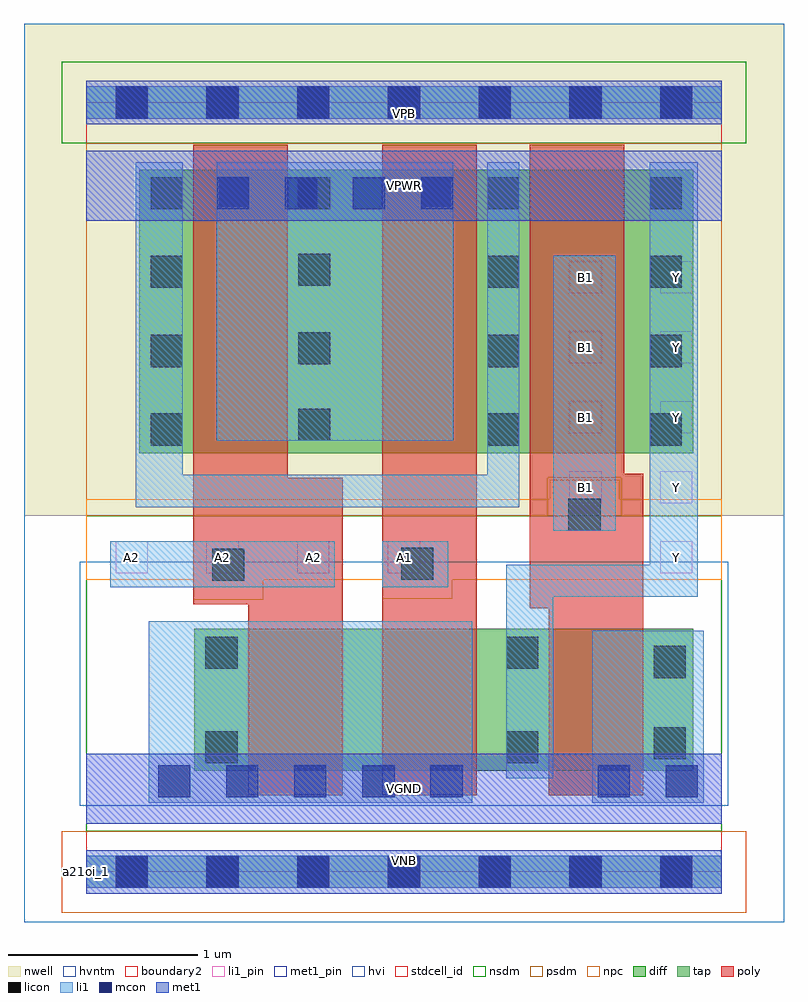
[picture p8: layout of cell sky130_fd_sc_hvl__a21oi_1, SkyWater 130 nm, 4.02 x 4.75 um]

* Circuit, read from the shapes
.subckt sky130_fd_sc_hvl__a21oi_1 A1 A2 B1 VGND VNB VPB VPWR Y
XM1 n1 A2 VGND VNB sky130_fd_pr__nfet_g5v0d10v5 w=0.75 l=0.5
XM2 Y A1 n1 VNB sky130_fd_pr__nfet_g5v0d10v5 w=0.75 l=0.5
XM3 VGND B1 Y VNB sky130_fd_pr__nfet_g5v0d10v5 w=0.75 l=0.5
XM4 VPWR A2 n2 VPB sky130_fd_pr__pfet_g5v0d10v5 w=1.5 l=0.5
XM5 n2 A1 VPWR VPB sky130_fd_pr__pfet_g5v0d10v5 w=1.5 l=0.5
XM6 Y B1 n2 VPB sky130_fd_pr__pfet_g5v0d10v5 w=1.5 l=0.5
.ends

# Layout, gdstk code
import gdstk
lib = gdstk.Library(unit=1e-6, precision=1e-09)
def R(c, l, rs):  # rectangles x0, y0, x1, y1
    for r in rs: c.add(gdstk.rectangle(r[:2], r[2:], *l))
def A(c, l, x, y, w, h, nx, ny, dx, dy):  # array of equal rectangles
    R(c, l, [(x+i*dx, y+j*dy, x+i*dx+w, y+j*dy+h) for i in range(nx) for j in range(ny)])
def P(c, l, *ps):  # polygons
    for p in ps: c.add(gdstk.Polygon(p, *l))
nwell = (64, 20)
diff = (65, 20)
tap = (65, 44)
poly = (66, 20)
licon = (66, 44)
li1_pin = (67, 16)
li1 = (67, 20)
mcon = (67, 44)
met1_pin = (68, 16)
met1 = (68, 20)
hvi = (75, 20)
stdcell_id = (81, 4)
nsdm = (93, 44)
psdm = (94, 20)
npc = (95, 20)
hvntm = (125, 20)
boundary2 = (236, 0)

sky130_fd_sc_hvl__a21oi_ = lib.new_cell('sky130_fd_sc_hvl__a21oi_1')
R(sky130_fd_sc_hvl__a21oi_, nwell, [(-0.33,1.885,3.69,4.485)])
R(sky130_fd_sc_hvl__a21oi_, diff, [(0.57,0.535,3.21,1.285), (0.28,2.215,3.21,3.715)])
R(sky130_fd_sc_hvl__a21oi_, tap, [(0,-0.085,3.36,0.085), (0,3.985,3.36,4.155)])
R(sky130_fd_sc_hvl__a21oi_, poly, [(1.565,0.405,2.065,3.845)])
P(sky130_fd_sc_hvl__a21oi_, poly, [(0.855,0.405),(0.855,1.415),(0.565,1.415),(0.565,3.845),(1.065,3.845),(1.065,2.085),(1.355,2.085),(1.355,0.405)],
  [(2.445,0.405),(2.445,1.395),(2.345,1.395),(2.345,3.845),(2.845,3.845),(2.845,2.105),(2.945,2.105),(2.945,0.405)])
A(sky130_fd_sc_hvl__a21oi_, licon, 0.155, -0.085, 0.17, 0.17, 7, 2, 0.48, 4.07)
R(sky130_fd_sc_hvl__a21oi_, licon, [(0.63,0.575,0.8,0.745), (2.22,0.575,2.39,0.745), (3,0.595,3.17,0.765), (3,1.025,3.17,1.195), (0.63,1.075,0.8,1.245), (2.22,1.075,2.39,1.245), (0.665,1.54,0.835,1.71), (1.665,1.545,1.835,1.715), (2.55,1.805,2.72,1.975), (0.34,2.255,0.51,2.425), (2.12,2.255,2.29,2.425), (2.98,2.255,3.15,2.425), (1.12,2.28,1.29,2.45), (0.34,2.67,0.51,2.84), (2.12,2.67,2.29,2.84), (2.98,2.67,3.15,2.84), (1.12,2.685,1.29,2.855), (0.34,3.09,0.51,3.26), (2.12,3.09,2.29,3.26), (2.98,3.09,3.15,3.26), (1.12,3.1,1.29,3.27), (0.34,3.505,0.51,3.675), (1.12,3.505,1.29,3.675), (2.12,3.505,2.29,3.675), (2.98,3.505,3.15,3.675)])
A(sky130_fd_sc_hvl__a21oi_, li1_pin, 0.155, 1.58, 0.17, 0.17, 4, 1, 0.48, 0)
A(sky130_fd_sc_hvl__a21oi_, li1_pin, 3.035, 1.58, 0.17, 0.17, 1, 5, 0, 0.37)
A(sky130_fd_sc_hvl__a21oi_, li1_pin, 2.555, 1.95, 0.17, 0.17, 1, 4, 0, 0.37)
R(sky130_fd_sc_hvl__a21oi_, li1, [(0,-0.085,3.36,0.085), (0.33,0.365,2.04,1.325), (2.675,0.365,3.265,1.275), (0.125,1.505,1.315,1.75), (1.565,1.505,1.915,1.75), (2.47,1.805,2.8,3.26), (0.69,2.28,1.94,3.755), (0,3.985,3.36,4.155)])
P(sky130_fd_sc_hvl__a21oi_, li1, [(0.26,1.93),(0.26,3.755),(0.51,3.755),(0.51,2.1),(2.12,2.1),(2.12,3.755),(2.29,3.755),(2.29,1.93)],
  [(2.22,0.495),(2.22,1.625),(2.98,1.625),(2.98,3.755),(3.235,3.755),(3.235,1.455),(2.47,1.455),(2.47,0.495)])
A(sky130_fd_sc_hvl__a21oi_, mcon, 0.38, 0.395, 0.17, 0.17, 5, 1, 0.36, 0)
A(sky130_fd_sc_hvl__a21oi_, mcon, 0.69, 3.505, 0.17, 0.17, 4, 1, 0.36, 0)
R(sky130_fd_sc_hvl__a21oi_, mcon, [(0.155,-0.085,0.325,0.085), (0.155,-0.085,0.325,0.085), (0.635,-0.085,0.805,0.085), (0.635,-0.085,0.805,0.085), (1.115,-0.085,1.285,0.085), (1.115,-0.085,1.285,0.085), (1.595,-0.085,1.765,0.085), (1.595,-0.085,1.765,0.085), (2.075,-0.085,2.245,0.085), (2.075,-0.085,2.245,0.085), (2.555,-0.085,2.725,0.085), (2.555,-0.085,2.725,0.085), (3.035,-0.085,3.205,0.085), (3.035,-0.085,3.205,0.085), (2.705,0.395,2.875,0.565), (3.065,0.395,3.235,0.565), (0.155,3.985,0.325,4.155), (0.155,3.985,0.325,4.155), (0.635,3.985,0.805,4.155), (0.635,3.985,0.805,4.155), (1.115,3.985,1.285,4.155), (1.115,3.985,1.285,4.155), (1.595,3.985,1.765,4.155), (1.595,3.985,1.765,4.155), (2.075,3.985,2.245,4.155), (2.075,3.985,2.245,4.155), (2.555,3.985,2.725,4.155), (2.555,3.985,2.725,4.155), (3.035,3.985,3.205,4.155), (3.035,3.985,3.205,4.155)])
R(sky130_fd_sc_hvl__a21oi_, met1_pin, [(0,0,3.36,0.115), (0,0.255,3.36,0.625), (0,3.445,3.36,3.815), (0,3.955,3.36,4.07)])
R(sky130_fd_sc_hvl__a21oi_, met1, [(0,-0.115,3.36,0.115), (0,0.255,3.36,0.625), (0,3.445,3.36,3.815), (0,3.955,3.36,4.185)])
R(sky130_fd_sc_hvl__a21oi_, hvi, [(-0.33,-0.265,3.69,4.485)])
R(sky130_fd_sc_hvl__a21oi_, stdcell_id, [(0,0,3.36,4.07)])
R(sky130_fd_sc_hvl__a21oi_, nsdm, [(0,0.215,3.36,1.885), (-0.13,3.855,3.49,4.285), (0,3.855,3.36,4.07)])
R(sky130_fd_sc_hvl__a21oi_, psdm, [(-0.13,-0.215,3.49,0.215)])
P(sky130_fd_sc_hvl__a21oi_, psdm, [(0,1.885),(0,3.855),(3.36,3.855),(3.36,1.885),(2.83,1.885),(2.83,2.085),(2.44,2.085),(2.44,1.885)])
P(sky130_fd_sc_hvl__a21oi_, npc, [(0.565,1.44),(0.565,1.545),(0,1.545),(0,1.97),(2.45,1.97),(2.45,2.075),(2.82,2.075),(2.82,1.97),(3.36,1.97),(3.36,1.545),(1.935,1.545),(1.935,1.445),(1.565,1.445),(1.565,1.545),(0.935,1.545),(0.935,1.44)])
R(sky130_fd_sc_hvl__a21oi_, hvntm, [(-0.035,0.35,3.395,1.64)])
R(sky130_fd_sc_hvl__a21oi_, boundary2, [(0,0,3.36,4.07)])
sky130_fd_sc_hvl__a21oi_.add(gdstk.Label('a21oi_1', (0,0), layer=83, texttype=44))
sky130_fd_sc_hvl__a21oi_.add(gdstk.Label('VGND', (1.68,0.44), layer=68, texttype=5))
sky130_fd_sc_hvl__a21oi_.add(gdstk.Label('VNB', (1.68,0.058), layer=68, texttype=5))
sky130_fd_sc_hvl__a21oi_.add(gdstk.Label('VPWR', (1.68,3.63), layer=68, texttype=5))
sky130_fd_sc_hvl__a21oi_.add(gdstk.Label('VPB', (1.68,4.013), layer=68, texttype=5))
sky130_fd_sc_hvl__a21oi_.add(gdstk.Label('A1', (1.68,1.665), layer=67, texttype=5))
sky130_fd_sc_hvl__a21oi_.add(gdstk.Label('A2', (0.24,1.665), layer=67, texttype=5))
sky130_fd_sc_hvl__a21oi_.add(gdstk.Label('A2', (0.72,1.665), layer=67, texttype=5))
sky130_fd_sc_hvl__a21oi_.add(gdstk.Label('A2', (1.2,1.665), layer=67, texttype=5))
sky130_fd_sc_hvl__a21oi_.add(gdstk.Label('B1', (2.64,2.035), layer=67, texttype=5))
sky130_fd_sc_hvl__a21oi_.add(gdstk.Label('B1', (2.64,2.405), layer=67, texttype=5))
sky130_fd_sc_hvl__a21oi_.add(gdstk.Label('B1', (2.64,2.775), layer=67, texttype=5))
sky130_fd_sc_hvl__a21oi_.add(gdstk.Label('B1', (2.64,3.145), layer=67, texttype=5))
sky130_fd_sc_hvl__a21oi_.add(gdstk.Label('Y', (3.12,1.665), layer=67, texttype=5))
sky130_fd_sc_hvl__a21oi_.add(gdstk.Label('Y', (3.12,2.035), layer=67, texttype=5))
sky130_fd_sc_hvl__a21oi_.add(gdstk.Label('Y', (3.12,2.405), layer=67, texttype=5))
sky130_fd_sc_hvl__a21oi_.add(gdstk.Label('Y', (3.12,2.775), layer=67, texttype=5))
sky130_fd_sc_hvl__a21oi_.add(gdstk.Label('Y', (3.12,3.145), layer=67, texttype=5))

lib.write_gds('sky130_fd_sc_hvl__a21oi_1.gds')
